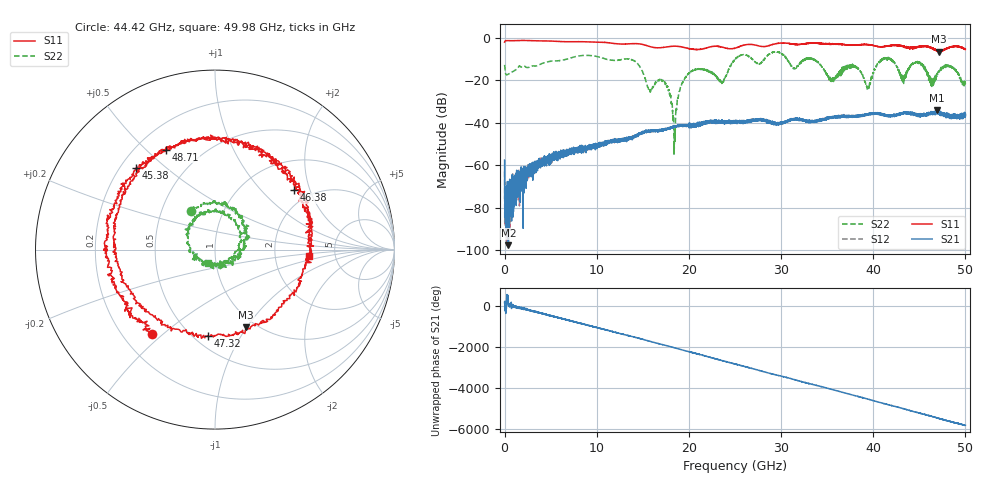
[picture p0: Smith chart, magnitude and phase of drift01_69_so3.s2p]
!Created with skrf (http://scikit-rf.org).
# Hz S RI R 50.0
!freq ReS11 ImS11 ReS21 ImS21 ReS12 ImS12 ReS22 ImS22
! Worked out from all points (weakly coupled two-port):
!   10001 points, 300 kHz to 50 GHz, reference 50 ohm
!   highest |S21| = -34.08 dB at 46.87 GHz (marker M1); lowest = -97.6 dB at 415.3 MHz (marker M2)
!   lowest |S11| = -6.6 dB at 47.15 GHz (marker M3), VSWR 2.75, Z = 45 - j49.8 ohm
!   |S11| at or under -10 dB: nowhere
!   |S22| runs from -55.4 to -6.6 dB; largest |S21 - S12| = 0.0045
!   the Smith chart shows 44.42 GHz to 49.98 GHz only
!   S11 on the Smith chart (normalised r, x): 44.42 GHz: 0.32, -0.46; 45.38 GHz: 0.26, +0.40; 46.38 GHz: 1.65, +1.56; 47.32 GHz: 0.58, -0.73; 48.71 GHz: 0.32, +0.58; 49.98 GHz: 3.17, -0.31
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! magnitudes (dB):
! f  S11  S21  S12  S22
! 300 kHz  -2.1  -57.5  -62.9  -12.8
! 415.3 MHz  -1.4  -97.6  -72.0  -17.2
! 8.335 GHz  -1.9  -52.0  -51.7  -8.5
! 16.67 GHz  -4.8  -43.8  -43.7  -19.9
! 17.74 GHz  -4.3  -42.7  -42.7  -24.1
! 18.45 GHz  -4.0  -41.5  -41.5  -44.1
! 19.95 GHz  -5.1  -41.3  -41.5  -17.0
! 23.63 GHz  -4.5  -39.8  -39.8  -20.7
! 25 GHz  -5.0  -40.0  -39.5  -10.3
! 33.34 GHz  -2.6  -39.3  -39.4  -10.0
! 39.44 GHz  -3.3  -35.9  -36.0  -23.8
! 41.67 GHz  -3.9  -36.5  -36.6  -10.1
! 43.23 GHz  -4.0  -35.2  -35.5  -20.0
! 44.42 GHz  -4.7  -36.3  -36.0  -11.9
! 45.38 GHz  -4.0  -36.1  -36.6  -13.5
! 46.38 GHz  -5.2  -36.0  -36.0  -19.9
! 46.87 GHz  -6.1  -34.1  -34.9  -17.7
! 47.15 GHz  -6.6  -35.3  -35.9  -16.0
! 47.32 GHz  -6.3  -35.3  -35.7  -15.0
! 48.71 GHz  -4.2  -37.3  -36.9  -14.7
! 49.98 GHz  -5.6  -36.7  -36.2  -21.3
! 50 GHz  -5.5  -36.0  -36.7  -21.6
